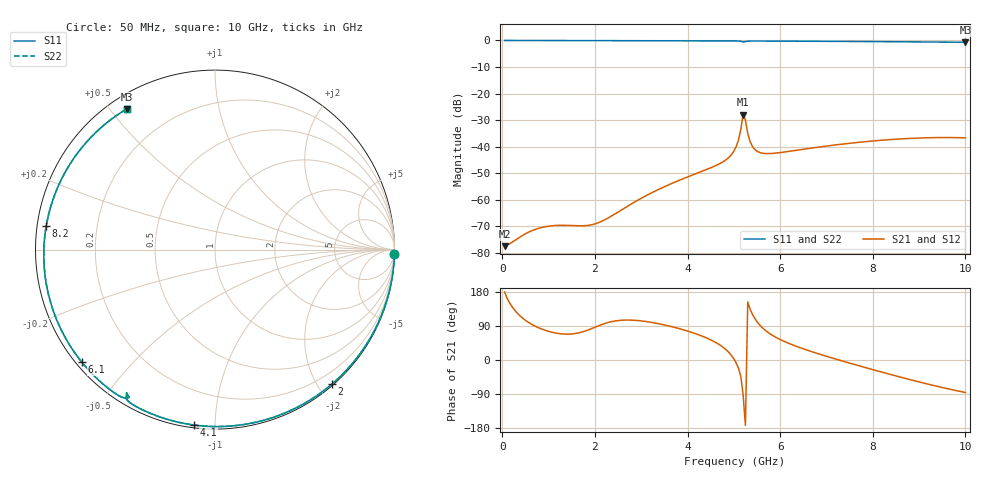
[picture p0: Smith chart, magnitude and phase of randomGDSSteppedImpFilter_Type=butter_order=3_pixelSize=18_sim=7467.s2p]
! freq	dB(S11)	phase(S11)	dB(S12)	phase(S12)
!  dB(S21)	phase(S21)	dB(S22)	phase(S22)
!S-par simulation data
#  GHz  S  DB  R 50
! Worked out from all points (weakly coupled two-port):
!   200 points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, 50 MHz to 10 GHz, reference 50 ohm
!   highest |S21| = -27.86 dB at 5.2 GHz (marker M1); lowest = -77.4 dB at 50 MHz (marker M2)
!   lowest |S11| = -0.7 dB at 10 GHz (marker M3), VSWR 25.68, Z = 2.54 + j27.6 ohm
!   |S11| at or under -10 dB: nowhere
!   |S22| runs from -0.7 to 0.0 dB; largest |S21 - S12| = 0
!   S11 on the Smith chart (normalised r, x): 50 MHz: 0, -91; 2 GHz: 0.02, -2.20; 4.1 GHz: 0.01, -0.89; 6.1 GHz: 0.02, -0.37; 8.2 GHz: 0.03, +0.07; 10 GHz: 0.05, +0.55
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0.05  -0.00 -1.3  -77.42 179.3  -77.42 179.3  -0.00 -1.3
0.85  -0.03 -21.2  -70.39 81.7  -70.39 81.7  -0.03 -21.2
1.75  -0.05 -43.0  -69.74 74.8  -69.74 74.8  -0.05 -43.0
2  -0.06 -49.0  -69.03 86.4  -69.03 86.4  -0.06 -49.0
3.4  -0.11 -81.3  -55.85 95.2  -55.85 95.2  -0.11 -81.3
4.1  -0.13 -96.8  -50.67 72.5  -50.67 72.5  -0.13 -96.8
4.8  -0.17 -112.1  -45.28 30.5  -45.28 30.5  -0.17 -112.1
5.05  -0.20 -117.8  -39.98 -7.5  -39.98 -7.5  -0.20 -117.9
5.15  -0.28 -120.6  -33.56 -42.9  -33.56 -42.9  -0.28 -120.7
5.2  -0.56 -121.7  -27.86 -92.1  -27.86 -92.1  -0.56 -121.7
5.25  -0.42 -120.1  -29.95 -172.5  -29.95 -172.5  -0.42 -120.1
5.3  -0.26 -121.6  -34.98 153.2  -34.98 153.2  -0.26 -121.6
5.35  -0.23 -123.0  -38.00 134.6  -38.00 134.6  -0.23 -123.0
5.45  -0.22 -125.4  -40.97 110.2  -40.97 110.2  -0.22 -125.4
5.65  -0.22 -129.9  -42.51 81.3  -42.51 81.3  -0.22 -129.9
6.1  -0.25 -139.7  -41.97 48.4  -41.97 48.4  -0.25 -139.7
6.7  -0.30 -152.9  -40.45 21.3  -40.45 21.3  -0.30 -152.9
7.45  -0.37 -169.9  -38.79 -6.5  -38.79 -6.5  -0.37 -169.9
8.2  -0.45 172.1  -37.53 -32.1  -37.53 -32.1  -0.45 172.1
8.35  -0.47 168.4  -37.34 -37.1  -37.34 -37.1  -0.47 168.3
9.2  -0.57 145.8  -36.61 -63.9  -36.61 -63.9  -0.57 145.7
10  -0.68 122.1  -36.66 -85.8  -36.66 -85.8  -0.68 122.0
